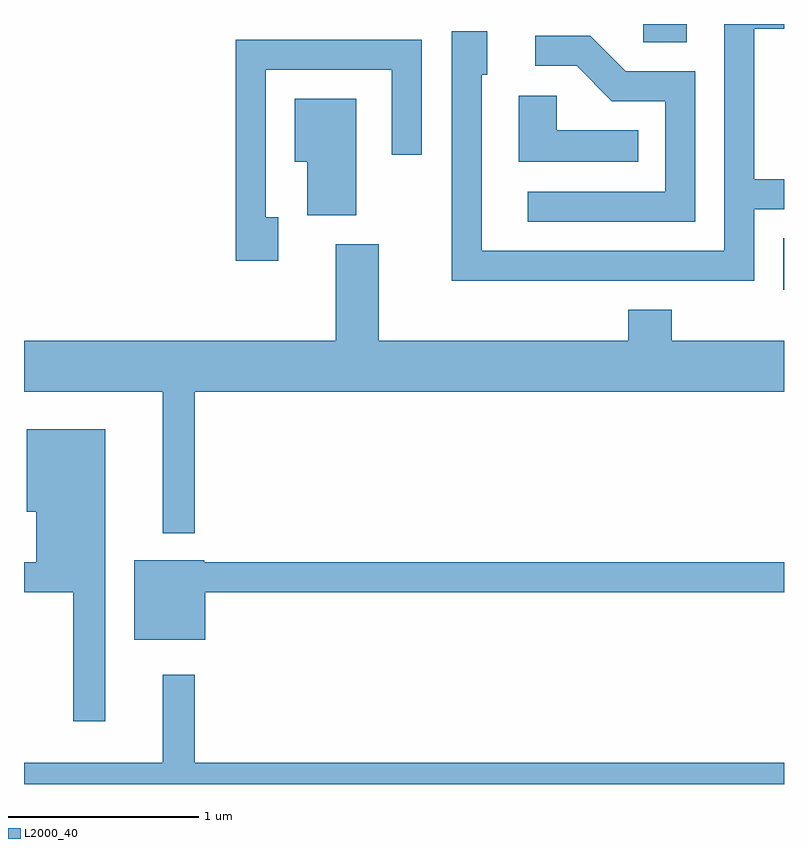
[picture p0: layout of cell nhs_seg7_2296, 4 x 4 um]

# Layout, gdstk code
import gdstk
lib = gdstk.Library(unit=1e-6, precision=1e-09)
def R(c, l, rs):  # rectangles x0, y0, x1, y1
    for r in rs: c.add(gdstk.rectangle(r[:2], r[2:], *l))
def P(c, l, *ps):  # polygons
    for p in ps: c.add(gdstk.Polygon(p, *l))
L2000_40 = (2000, 40)

nhs_seg7_2296 = lib.new_cell('nhs_seg7_2296')
R(nhs_seg7_2296, L2000_40, [(259.606,1714.853,259.611,1715.124), (258.871,1716.156,259.099,1716.252)])
P(nhs_seg7_2296, L2000_40, [(259.454,1715.276),(259.611,1715.276),(259.611,1715.434),(259.454,1715.434),(259.454,1716.226),(259.611,1716.226),(259.611,1716.252),(259.296,1716.252),(259.296,1715.059),(258.019,1715.059),(258.019,1715.986),(258.049,1715.986),(258.049,1716.214),(257.861,1716.214),(257.861,1714.901),(259.454,1714.901)],
  [(259.144,1716.004),(258.777,1716.004),(258.592,1716.189),(258.303,1716.189),(258.303,1716.031),(258.519,1716.031),(258.704,1715.846),(258.986,1715.846),(258.986,1715.369),(258.263,1715.369),(258.263,1715.211),(259.144,1715.211)],
  [(256.949,1715.234),(256.884,1715.234),(256.884,1716.011),(257.546,1716.011),(257.546,1715.563),(257.704,1715.563),(257.704,1716.169),(256.726,1716.169),(256.726,1715.006),(256.949,1715.006)],
  [(258.843,1715.694),(258.414,1715.694),(258.414,1715.874),(258.216,1715.874),(258.216,1715.526),(258.843,1715.526)],
  [(257.359,1715.859),(257.036,1715.859),(257.036,1715.526),(257.101,1715.526),(257.101,1715.246),(257.359,1715.246)],
  [(256.509,1714.316),(259.611,1714.316),(259.611,1714.584),(259.019,1714.584),(259.019,1714.749),(258.791,1714.749),(258.791,1714.584),(257.479,1714.584),(257.479,1715.094),(257.251,1715.094),(257.251,1714.584),(255.611,1714.584),(255.611,1714.316),(256.341,1714.316),(256.341,1713.573),(256.509,1713.573)],
  [(256.039,1714.119),(255.626,1714.119),(255.626,1713.686),(255.676,1713.686),(255.676,1713.419),(255.611,1713.419),(255.611,1713.261),(255.871,1713.261),(255.871,1712.583),(256.039,1712.583)],
  [(256.564,1713.261),(259.611,1713.261),(259.611,1713.419),(256.56,1713.419),(256.56,1713.429),(256.191,1713.429),(256.191,1713.011),(256.564,1713.011)],
  [(259.611,1712.364),(256.509,1712.364),(256.509,1712.828),(256.341,1712.828),(256.341,1712.364),(255.611,1712.364),(255.611,1712.252),(259.611,1712.252)])

lib.write_gds('nhs_seg7_2296.gds')
